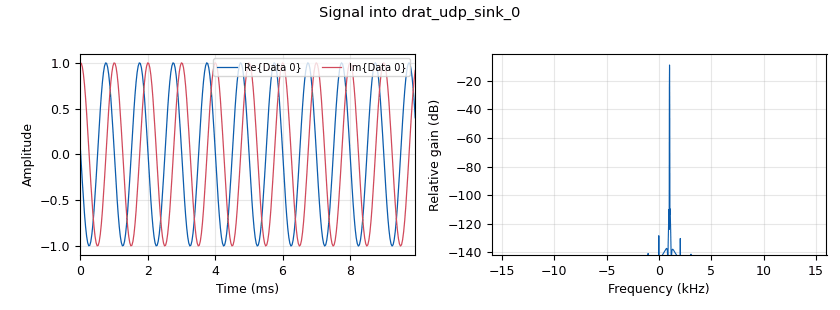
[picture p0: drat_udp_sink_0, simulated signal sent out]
options:
  parameters:
    author: Daniel Estevez
    generate_options: qt_gui
    id: loopback_burst_tx_time
    output_language: python
    title: DRaT loopback (burst mode with tx_time)
  states: {}

blocks:
- name: burst_len1
  id: variable
  parameters:
    value: '1234'
  states: {}
- name: burst_len2
  id: variable
  parameters:
    value: '5678'
  states: {}
- name: eob_tag1
  id: variable_tag_object
  parameters:
    key: pmt.intern("EOB")
    offset: burst_len1 - 1
    src: pmt.intern("src")
    value: pmt.PMT_NIL
  states: {}
- name: eob_tag2
  id: variable_tag_object
  parameters:
    key: pmt.intern("EOB")
    offset: burst_len1 + burst_len2 - 1
    src: pmt.intern("src")
    value: pmt.PMT_NIL
  states: {}
- name: samp_rate
  id: variable
  parameters:
    value: '32000'
  states: {}
- name: sob_tag1
  id: variable_tag_object
  parameters:
    key: pmt.intern("SOB")
    offset: '0'
    src: pmt.intern("src")
    value: pmt.PMT_NIL
  states: {}
- name: sob_tag2
  id: variable_tag_object
  parameters:
    key: pmt.intern("SOB")
    offset: burst_len1
    src: pmt.intern("src")
    value: pmt.PMT_NIL
  states: {}
- name: timestamp_epoch
  id: variable
  parameters:
    value: (datetime.datetime(2000, 1, 1) - datetime.datetime(1970, 1, 1)).total_seconds()
  states: {}
- name: timestamp_now
  id: variable
  parameters:
    value: '(datetime.datetime.utcnow() - datetime.datetime(1970, 1, 1)).total_seconds() '
  states: {}
- name: tx_time_tag1
  id: variable_tag_object
  parameters:
    key: pmt.intern("tx_time")
    offset: '0'
    src: pmt.intern("src")
    value: pmt.make_tuple(pmt.from_uint64(math.ceil(timestamp_now)), pmt.from_double(0.25))
  states: {}
- name: tx_time_tag2
  id: variable_tag_object
  parameters:
    key: pmt.intern("tx_time")
    offset: burst_len1
    src: pmt.intern("src")
    value: pmt.make_tuple(pmt.from_uint64(math.ceil(timestamp_now) + 2), pmt.from_double(0.5))
  states: {}
- name: analog_sig_source_x_0
  id: analog_sig_source_x
  parameters:
    amp: '1'
    freq: '1001'
    offset: '0'
    phase: '0'
    samp_rate: samp_rate
    type: complex
    waveform: analog.GR_COS_WAVE
  states: {}
- name: blocks_tag_debug_0
  id: blocks_tag_debug
  parameters:
    type: complex
  states: {}
- name: blocks_tag_share_0
  id: blocks_tag_share
  parameters:
    io_type: complex
    share_type: complex
  states: {}
- name: blocks_vector_source_x_0
  id: blocks_vector_source_x
  parameters:
    repeat: 'False'
    tags: '[sob_tag1, tx_time_tag1, eob_tag1, sob_tag2, tx_time_tag2, eob_tag2]'
    type: complex
    vector: '[0] * (burst_len1 + burst_len2)'
  states: {}
- name: drat_time_source_0
  id: drat_time_source
  parameters:
    flow_id: '0'
    initial_timestamp: round((datetime.datetime.utcnow() - datetime.datetime(2000, 1, 1)).total_seconds() * samp_rate)
    ip: 127.0.0.1
    period: '0.1'
    port: '1235'
    samp_rate: samp_rate
  states: {}
- name: drat_udp_sink_0
  id: drat_udp_sink
  parameters:
    async_mode: 'True'
    burst_mode: 'True'
    custom_drat_types: 'False'
    dest_addr: 127.0.0.1
    dest_port: '1234'
    drat_type: '0'
    drat_type_eob: '0'
    flow_id: '0'
    initial_time: '123456789.0001'
    len_tag_key: ''
    maximum_latency: '100'
    packet_size: '1472'
    samp_rate: samp_rate
    self_clocked: 'False'
    status_addr: 0.0.0.0
    status_filter_flow: 'False'
    status_flow_id: '0'
    status_port: '1236'
    ticks_per_sample: '1'
    time_report_addr: 0.0.0.0
    time_report_filter_flow: 'False'
    time_report_flow_id: '0'
    time_report_port: '1235'
    timestamp_epoch: timestamp_epoch
    type: complex
  states: {}
- name: drat_udp_source_0
  id: drat_udp_source
  parameters:
    burst_mode: 'True'
    custom_drat_types: 'False'
    drat_type: '0'
    drat_type_eob: '0'
    filter_flow: 'False'
    flow_id: '0'
    listen_addr: 0.0.0.0
    listen_port: '1234'
    recv_timeout: '1000'
    samp_rate: samp_rate
    send_ack_every: '100'
    status_addr: 127.0.0.1
    status_flow_id: '0'
    status_port: '1236'
    ticks_per_sample: '1'
    timestamp_epoch: timestamp_epoch
    type: complex
    zero_fill_lost: 'False'
  states: {}
- name: import_0
  id: import
  parameters:
    imports: import pmt
  states: {}
- name: import_1
  id: import
  parameters:
    imports: import datetime
  states: {}
- name: import_2
  id: import
  parameters:
    imports: import math
  states: {}
- name: qtgui_time_sink_x_0
  id: qtgui_time_sink_x
  parameters:
    size: '1024'
    srate: samp_rate
    type: complex
  states: {}

connections:
- [analog_sig_source_x_0, '0', blocks_tag_share_0, '0']
- [blocks_tag_share_0, '0', drat_udp_sink_0, '0']
- [blocks_vector_source_x_0, '0', blocks_tag_share_0, '1']
- [drat_udp_source_0, '0', blocks_tag_debug_0, '0']
- [drat_udp_source_0, '0', qtgui_time_sink_x_0, '0']

metadata:
  file_format: 1
  grc_version: 3.10.7.0
